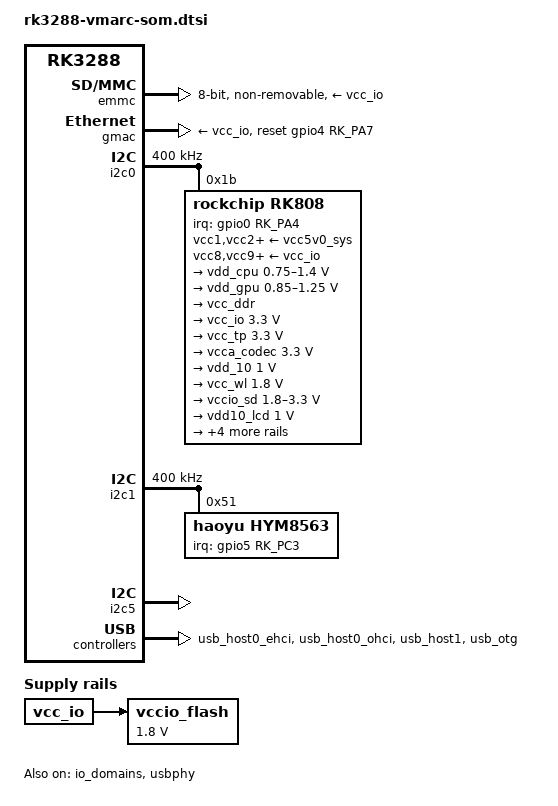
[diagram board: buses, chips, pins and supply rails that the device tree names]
// SPDX-License-Identifier: (GPL-2.0+ OR MIT)
/*
 * Copyright (c) 2019 Fuzhou Rockchip Electronics Co., Ltd
 * Copyright (c) 2019 Vamrs Limited
 * Copyright (c) 2019 Amarula Solutions(India)
 */

#include <dt-bindings/gpio/gpio.h>
#include <dt-bindings/pinctrl/rockchip.h>

/ {
	compatible = "vamrs,rk3288-vmarc-som", "rockchip,rk3288";

	vccio_flash: regulator-vccio-flash {
		compatible = "regulator-fixed";
		regulator-name = "vccio_flash";
		regulator-min-microvolt = <1800000>;
		regulator-max-microvolt = <1800000>;
		vin-supply = <&vcc_io>;
	};
};

&emmc {
	bus-width = <8>;
	cap-mmc-highspeed;
	disable-wp;
	non-removable;
	pinctrl-names = "default";
	pinctrl-0 = <&emmc_clk &emmc_cmd &emmc_pwr &emmc_bus8>;
	vmmc-supply = <&vcc_io>;
	vqmmc-supply = <&vccio_flash>;
	status = "okay";
};

&gmac {
	assigned-clocks = <&cru SCLK_MAC>;
	phy-supply = <&vcc_io>;
	snps,reset-gpio = <&gpio4 RK_PA7 GPIO_ACTIVE_HIGH>;
};

&hdmi {
	ddc-i2c-bus = <&i2c5>;
	pinctrl-names = "default";
	pinctrl-0 = <&hdmi_cec_c0>;
};

&i2c0 {
	clock-frequency = <400000>;
	status = "okay";

	rk808: pmic@1b {
		compatible = "rockchip,rk808";
		reg = <0x1b>;
		interrupt-parent = <&gpio0>;
		interrupts = <RK_PA4 IRQ_TYPE_LEVEL_LOW>;
		pinctrl-names = "default";
		pinctrl-0 = <&pmic_int &global_pwroff>;
		rockchip,system-power-controller;
		wakeup-source;
		#clock-cells = <1>;
		clock-output-names = "rk808-clkout1", "rk808-clkout2";

		vcc1-supply = <&vcc5v0_sys>;
		vcc2-supply = <&vcc5v0_sys>;
		vcc3-supply = <&vcc5v0_sys>;
		vcc4-supply = <&vcc5v0_sys>;
		vcc6-supply = <&vcc5v0_sys>;
		vcc7-supply = <&vcc5v0_sys>;
		vcc8-supply = <&vcc_io>;
		vcc9-supply = <&vcc_io>;
		vcc10-supply = <&vcc5v0_sys>;
		vcc11-supply = <&vcc5v0_sys>;
		vcc12-supply = <&vcc_io>;
		vddio-supply = <&vcc_io>;

		regulators {
			vdd_cpu: DCDC_REG1 {
				regulator-name = "vdd_arm";
				regulator-always-on;
				regulator-boot-on;
				regulator-min-microvolt = <750000>;
				regulator-max-microvolt = <1400000>;
				regulator-state-mem {
					regulator-off-in-suspend;
				};
			};

			vdd_gpu: DCDC_REG2 {
				regulator-name = "vdd_gpu";
				regulator-always-on;
				regulator-boot-on;
				regulator-min-microvolt = <850000>;
				regulator-max-microvolt = <1250000>;
				regulator-ramp-delay = <6000>;
				regulator-state-mem {
					regulator-off-in-suspend;
				};
			};

			vcc_ddr: DCDC_REG3 {
				regulator-name = "vcc_ddr";
				regulator-always-on;
				regulator-boot-on;
				regulator-state-mem {
					regulator-on-in-suspend;
				};
			};

			vcc_io: DCDC_REG4 {
				regulator-name = "vcc_io";
				regulator-always-on;
				regulator-boot-on;
				regulator-min-microvolt = <3300000>;
				regulator-max-microvolt = <3300000>;
				regulator-state-mem {
					regulator-on-in-suspend;
					regulator-suspend-microvolt = <3300000>;
				};
			};

			vcc_tp: LDO_REG1 {
				regulator-name = "vcc_tp";
				regulator-always-on;
				regulator-boot-on;
				regulator-min-microvolt = <3300000>;
				regulator-max-microvolt = <3300000>;
				regulator-state-mem {
					regulator-off-in-suspend;
				};
			};

			vcca_codec: LDO_REG2 {
				regulator-name = "vcca_codec";
				regulator-always-on;
				regulator-boot-on;
				regulator-min-microvolt = <3300000>;
				regulator-max-microvolt = <3300000>;
				regulator-state-mem {
					regulator-on-in-suspend;
					regulator-suspend-microvolt = <3300000>;
				};
			};

			vdd_10: LDO_REG3 {
				regulator-name = "vdd_10";
				regulator-always-on;
				regulator-boot-on;
				regulator-min-microvolt = <1000000>;
				regulator-max-microvolt = <1000000>;
				regulator-state-mem {
					regulator-on-in-suspend;
					regulator-suspend-microvolt = <1000000>;
				};
			};

			vcc_wl: LDO_REG4 {
				regulator-name = "vcc_wl";
				regulator-always-on;
				regulator-boot-on;
				regulator-min-microvolt = <1800000>;
				regulator-max-microvolt = <1800000>;
				regulator-state-mem {
					regulator-on-in-suspend;
				};
			};

			vccio_sd: LDO_REG5 {
				regulator-name = "vccio_sd";
				regulator-always-on;
				regulator-boot-on;
				regulator-min-microvolt = <1800000>;
				regulator-max-microvolt = <3300000>;
				regulator-state-mem {
					regulator-on-in-suspend;
					regulator-suspend-microvolt = <3300000>;
				};
			};

			vdd10_lcd: LDO_REG6 {
				regulator-name = "vdd10_lcd";
				regulator-always-on;
				regulator-boot-on;
				regulator-min-microvolt = <1000000>;
				regulator-max-microvolt = <1000000>;
				regulator-state-mem {
					regulator-off-in-suspend;
				};
			};

			vcc_18: LDO_REG7 {
				regulator-name = "vcc_18";
				regulator-always-on;
				regulator-boot-on;
				regulator-min-microvolt = <1800000>;
				regulator-max-microvolt = <1800000>;
				regulator-state-mem {
					regulator-on-in-suspend;
					regulator-suspend-microvolt = <1800000>;
				};
			};

			vcc18_lcd: LDO_REG8 {
				regulator-name = "vcc18_lcd";
				regulator-always-on;
				regulator-boot-on;
				regulator-min-microvolt = <1800000>;
				regulator-max-microvolt = <1800000>;
				regulator-state-mem {
					regulator-off-in-suspend;
				};
			};

			vcc_sd: SWITCH_REG1 {
				regulator-name = "vcc_sd";
				regulator-always-on;
				regulator-boot-on;
				regulator-state-mem {
					regulator-off-in-suspend;
				};
			};

			vcc_lcd: SWITCH_REG2 {
				regulator-name = "vcc_lcd";
				regulator-always-on;
				regulator-boot-on;
				regulator-state-mem {
					regulator-off-in-suspend;
				};
			};
		};
	};
};

&i2c1 {
	clock-frequency = <400000>;
	status = "okay";

	hym8563: rtc@51 {
		compatible = "haoyu,hym8563";
		reg = <0x51>;
		interrupt-parent = <&gpio5>;
		interrupts = <RK_PC3 IRQ_TYPE_LEVEL_LOW>;
		#clock-cells = <0>;
		clock-output-names = "hym8563";
		pinctrl-names = "default";
		pinctrl-0 = <&hym8563_int>;
	};
};

&i2c5 {
	status = "okay";
};

&io_domains {
	bb-supply = <&vcc_io>;
	flash0-supply = <&vccio_flash>;
	gpio1830-supply = <&vcc_18>;
	gpio30-supply = <&vcc_io>;
	sdcard-supply = <&vccio_sd>;
	wifi-supply = <&vcc_wl>;
	status = "okay";
};

&pinctrl {
	hym8563 {
		hym8563_int: hym8563-int {
			rockchip,pins = <5 RK_PC3 RK_FUNC_GPIO &pcfg_pull_up>;
		};
	};

	pcfg_pull_none_drv_8ma: pcfg-pull-none-drv-8ma {
		drive-strength = <8>;
	};

	pcfg_pull_up_drv_8ma: pcfg-pull-up-drv-8ma {
		bias-pull-up;
		drive-strength = <8>;
	};

	pmic {
		pmic_int: pmic-int {
			rockchip,pins = <0 RK_PA4 RK_FUNC_GPIO &pcfg_pull_up>;
		};
	};

	sdio-pwrseq {
		wifi_enable_h: wifi-enable-h {
			rockchip,pins = <4 RK_PD4 RK_FUNC_GPIO &pcfg_pull_none>;
		};
	};

	sdmmc {
		sdmmc_bus4: sdmmc-bus4 {
			rockchip,pins =
				<6 RK_PC0 1 &pcfg_pull_up_drv_8ma>,
				<6 RK_PC1 1 &pcfg_pull_up_drv_8ma>,
				<6 RK_PC2 1 &pcfg_pull_up_drv_8ma>,
				<6 RK_PC3 1 &pcfg_pull_up_drv_8ma>;
		};

		sdmmc_clk: sdmmc-clk {
			rockchip,pins = <6 RK_PC4 1 &pcfg_pull_none_drv_8ma>;
		};

		sdmmc_cmd: sdmmc-cmd {
			rockchip,pins = <6 RK_PC5 1 &pcfg_pull_up_drv_8ma>;
		};
	};

	vbus_host {
		usb1_en_oc: usb1-en-oc {
			rockchip,pins = <0 RK_PC1 RK_FUNC_GPIO &pcfg_pull_up>;
		};
	};

	vbus_typec {
		usb0_en_oc: usb0-en-oc {
			rockchip,pins = <0 RK_PB5 RK_FUNC_GPIO &pcfg_pull_up>;
		};
	};
};

&sdio_pwrseq {
	/*
	 * On the module itself this is one of these (depending
	 * on the actual card populated):
	 * - SDIO_RESET_L_WL_REG_ON
	 * - PDN (power down when low)
	 */
	reset-gpios = <&gpio4 RK_PD4 GPIO_ACTIVE_LOW>;	/* WIFI_REG_ON */
};

&usbphy {
	status = "okay";
};

&usb_host0_ehci {
	status = "okay";
};

&usb_host0_ohci {
	status = "okay";
};

&usb_host1 {
	status = "okay";
};

&usb_otg {
	status = "okay";
};

&vbus_host {
	enable-active-high;
	gpio = <&gpio0 RK_PC1 GPIO_ACTIVE_HIGH>; /* USB1_EN_OC# */
};

&vbus_typec {
	enable-active-high;
	gpio = <&gpio0 RK_PB5 GPIO_ACTIVE_HIGH>; /* USB0_EN_OC# */
};
